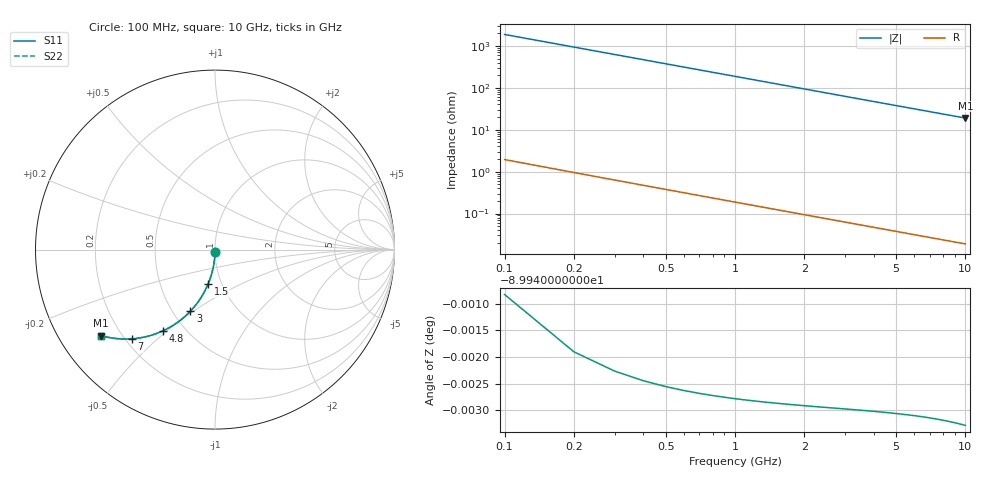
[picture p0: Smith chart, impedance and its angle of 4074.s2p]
# Hz S RI R 50.00
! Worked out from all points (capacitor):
!   100 points, 100 MHz to 10 GHz, reference 50 ohm
!   read as one part in shunt: C = 849 fF near 100 MHz
!   lowest |Z| = 19 ohm at 10 GHz (marker M1)
!   S11 on the Smith chart (normalised r, x): 100 MHz: 1.00, -0.03; 1.5 GHz: 0.86, -0.34; 3 GHz: 0.61, -0.49; 4.8 GHz: 0.38, -0.48; 7 GHz: 0.23, -0.42; 10 GHz: 0.13, -0.33
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1e8  -0.000186 -0.0133  0.9998 -0.0133  0.9998 -0.0133  -0.000186 -0.0133
2e8  -0.000731 -0.0266  0.9993 -0.0267  0.9993 -0.0267  -0.000731 -0.0266
3e8  -0.00163 -0.0399  0.9984 -0.04  0.9984 -0.04  -0.00163 -0.0399
4e8  -0.00288 -0.0531  0.9971 -0.0532  0.9971 -0.0532  -0.00288 -0.0531
5e8  -0.00448 -0.0663  0.9955 -0.0664  0.9955 -0.0664  -0.00448 -0.0663
6e8  -0.00643 -0.0793  0.9936 -0.0795  0.9936 -0.0795  -0.00643 -0.0793
7e8  -0.00871 -0.0924  0.9913 -0.0926  0.9913 -0.0926  -0.00871 -0.0924
9e8  -0.0143 -0.118  0.9857 -0.1183  0.9857 -0.1183  -0.0143 -0.118
1.2e9  -0.0251 -0.1556  0.9749 -0.156  0.9749 -0.156  -0.0251 -0.1556
1.5e9  -0.0385 -0.1918  0.9614 -0.1923  0.9614 -0.1923  -0.0385 -0.1918
1.8e9  -0.0545 -0.2262  0.9455 -0.2268  0.9455 -0.2268  -0.0545 -0.2262
2.4e9  -0.0928 -0.2892  0.9072 -0.29  0.9072 -0.29  -0.0928 -0.2892
3e9  -0.1375 -0.3434  0.8625 -0.3444  0.8625 -0.3444  -0.1375 -0.3434
3.4e9  -0.1698 -0.3744  0.8302 -0.3756  0.8302 -0.3756  -0.1698 -0.3744
4.1e9  -0.2289 -0.4189  0.7711 -0.4203  0.7711 -0.4203  -0.2289 -0.4189
4.8e9  -0.2888 -0.4519  0.7112 -0.4535  0.7112 -0.4535  -0.2888 -0.4519
5.1e9  -0.3141 -0.4628  0.6859 -0.4645  0.6859 -0.4645  -0.3141 -0.4628
5.9e9  -0.3795 -0.4838  0.6205 -0.4858  0.6205 -0.4858  -0.3795 -0.4838
6.7e9  -0.4405 -0.4948  0.5595 -0.4971  0.5595 -0.4971  -0.4405 -0.4948
7e9  -0.462 -0.4969  0.538 -0.4992  0.538 -0.4992  -0.462 -0.4969
8.4e9  -0.5521 -0.4953  0.4478 -0.4982  0.4478 -0.4982  -0.5521 -0.4953
1e10  -0.6353 -0.4791  0.3647 -0.4826  0.3647 -0.4826  -0.6353 -0.4791
